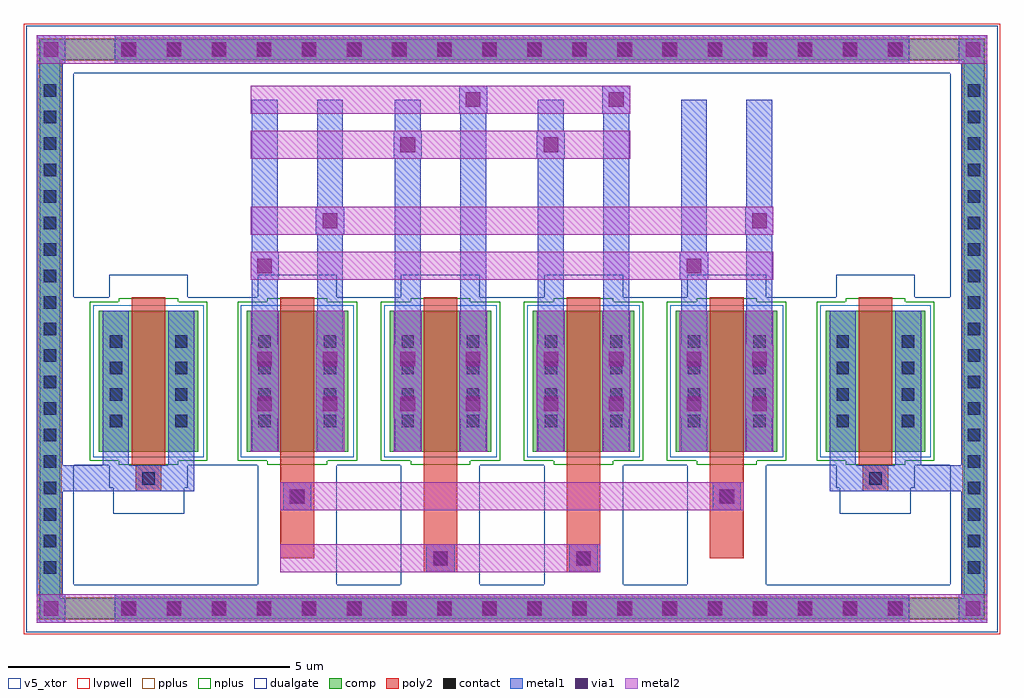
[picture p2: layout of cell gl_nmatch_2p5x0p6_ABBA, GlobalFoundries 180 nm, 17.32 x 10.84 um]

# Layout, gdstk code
import gdstk
lib = gdstk.Library(unit=1e-6, precision=1e-09)
def R(c, l, rs):  # rectangles x0, y0, x1, y1
    for r in rs: c.add(gdstk.rectangle(r[:2], r[2:], *l))
def A(c, l, x, y, w, h, nx, ny, dx, dy):  # array of equal rectangles
    R(c, l, [(x+i*dx, y+j*dy, x+i*dx+w, y+j*dy+h) for i in range(nx) for j in range(ny)])
comp = (22, 0)
poly2 = (30, 0)
pplus = (31, 0)
nplus = (32, 0)
contact = (33, 0)
metal1 = (34, 0)
via1 = (35, 0)
metal2 = (36, 0)
dualgate = (55, 0)
v5_xtor = (112, 1)
lvpwell = (204, 0)

gl_nmatch_2p5x0p6_abba = lib.new_cell('gl_nmatch_2p5x0p6_ABBA')
A(gl_nmatch_2p5x0p6_abba, comp, -4.71, -2.18, 1.8, 2.5, 4, 1, 2.54, 0)
R(gl_nmatch_2p5x0p6_abba, comp, [(-8.38,-5.14,8.38,-4.78), (-8.38,-4.78,-8.02,4.78), (8.02,-4.78,8.38,4.78), (-7.33,-2.18,-5.57,0.32), (5.57,-2.18,7.33,0.32), (-8.38,4.78,8.38,5.14)])
R(gl_nmatch_2p5x0p6_abba, poly2, [(-1.57,-4.32,-0.97,0.56), (0.97,-4.32,1.57,0.56), (-4.11,-4.07,-3.51,0.56), (3.51,-4.07,4.11,0.56), (-6.68,-2.88,-6.22,-2.42), (6.22,-2.88,6.68,-2.42), (-6.75,-2.42,-6.15,0.56), (6.15,-2.42,6.75,0.56)])
R(gl_nmatch_2p5x0p6_abba, pplus, [(-7.01,-5.17,7.01,-5.16), (-8.4,-5.16,8.4,-4.76), (-8.4,-4.76,-7.99,-4.46), (-7.01,-4.76,7.01,-4.75), (7.99,-4.76,8.4,-4.46), (-8.41,-4.46,-7.99,4.46), (7.99,-4.46,8.41,4.46), (-8.4,4.46,-7.99,4.76), (7.99,4.46,8.4,4.76), (-7.01,4.75,7.01,4.76), (-8.4,4.76,8.4,5.16), (-7.01,5.16,7.01,5.17)])
A(gl_nmatch_2p5x0p6_abba, nplus, -4.34, -2.41, 1.06, 0.07, 4, 2, 2.54, 2.89)
A(gl_nmatch_2p5x0p6_abba, nplus, -4.87, -2.34, 2.12, 2.82, 4, 1, 2.54, 0)
R(gl_nmatch_2p5x0p6_abba, nplus, [(-6.98,-2.41,-5.92,-2.34), (5.92,-2.41,6.98,-2.34), (-7.49,-2.34,-5.41,0.48), (5.41,-2.34,7.49,0.48), (-6.98,0.48,-5.92,0.55), (5.92,0.48,6.98,0.55)])
A(gl_nmatch_2p5x0p6_abba, contact, -6.91, -5.07, 0.22, 0.22, 18, 2, 0.8, 9.92)
A(gl_nmatch_2p5x0p6_abba, contact, -8.31, -4.34, 0.22, 0.22, 1, 19, 0, 0.47)
A(gl_nmatch_2p5x0p6_abba, contact, 8.09, -4.34, 0.22, 0.22, 1, 19, 0, 0.47)
A(gl_nmatch_2p5x0p6_abba, contact, -7.14, -1.745, 0.22, 0.22, 1, 4, 0, 0.47)
A(gl_nmatch_2p5x0p6_abba, contact, -5.98, -1.745, 0.22, 0.22, 1, 4, 0, 0.47)
A(gl_nmatch_2p5x0p6_abba, contact, -4.5, -1.745, 0.22, 0.22, 1, 4, 0, 0.47)
A(gl_nmatch_2p5x0p6_abba, contact, -3.34, -1.745, 0.22, 0.22, 1, 4, 0, 0.47)
A(gl_nmatch_2p5x0p6_abba, contact, -1.96, -1.745, 0.22, 0.22, 1, 4, 0, 0.47)
A(gl_nmatch_2p5x0p6_abba, contact, -0.8, -1.745, 0.22, 0.22, 1, 4, 0, 0.47)
A(gl_nmatch_2p5x0p6_abba, contact, 0.58, -1.745, 0.22, 0.22, 1, 4, 0, 0.47)
A(gl_nmatch_2p5x0p6_abba, contact, 1.74, -1.745, 0.22, 0.22, 1, 4, 0, 0.47)
A(gl_nmatch_2p5x0p6_abba, contact, 3.12, -1.745, 0.22, 0.22, 1, 4, 0, 0.47)
A(gl_nmatch_2p5x0p6_abba, contact, 4.28, -1.745, 0.22, 0.22, 1, 4, 0, 0.47)
A(gl_nmatch_2p5x0p6_abba, contact, 5.76, -1.745, 0.22, 0.22, 1, 4, 0, 0.47)
A(gl_nmatch_2p5x0p6_abba, contact, 6.92, -1.745, 0.22, 0.22, 1, 4, 0, 0.47)
R(gl_nmatch_2p5x0p6_abba, contact, [(-1.38,-4.18,-1.16,-3.96), (1.16,-4.18,1.38,-3.96), (-3.92,-3.08,-3.7,-2.86), (3.7,-3.08,3.92,-2.86), (-6.56,-2.76,-6.34,-2.54), (6.34,-2.76,6.56,-2.54)])
R(gl_nmatch_2p5x0p6_abba, metal1, [(-8.43,-5.21,-7.93,-4.71), (-7.05,-5.21,7.05,-4.71), (7.93,-5.21,8.43,-4.71), (-8.43,-4.71,-7.97,-2.88), (7.97,-4.71,8.43,-2.88), (-1.52,-4.32,-1.02,-3.82), (1.02,-4.32,1.52,-3.82), (-4.06,-3.22,-3.56,-2.72), (3.56,-3.22,4.06,-2.72), (-8.43,-2.88,-5.64,-2.42), (5.64,-2.88,8.43,-2.42), (-8.43,-2.42,-7.97,4.71), (-7.26,-2.42,-6.8,0.32), (-6.1,-2.42,-5.64,0.32), (5.64,-2.42,6.1,0.32), (6.8,-2.42,7.26,0.32), (7.97,-2.42,8.43,4.71), (-4.62,-2.18,-4.16,-1.58), (-3.46,-2.18,-3,-1.58), (-2.08,-2.18,-1.62,-1.58), (-0.92,-2.18,-0.46,-1.58), (0.46,-2.18,0.92,-1.58), (1.62,-2.18,2.08,-1.58), (3,-2.18,3.46,-1.58), (4.16,-2.18,4.62,-1.58), (-4.64,-1.58,-4.14,-0.28), (-3.48,-1.58,-2.98,-0.28), (-2.1,-1.58,-1.6,-0.28), (-0.94,-1.58,-0.44,-0.28), (0.44,-1.58,0.94,-0.28), (1.6,-1.58,2.1,-0.28), (2.98,-1.58,3.48,-0.28), (4.14,-1.58,4.64,-0.28), (-4.62,-0.28,-4.16,0.87), (-3.46,-0.28,-3,1.67), (-2.08,-0.28,-1.62,3.02), (-0.92,-0.28,-0.46,3.82), (0.46,-0.28,0.92,3.02), (1.62,-0.28,2.08,3.82), (3,-0.28,3.46,0.87), (4.16,-0.28,4.62,1.67), (-4.64,0.87,-4.14,1.37), (2.98,0.87,3.48,1.37), (-4.62,1.37,-4.16,4.07), (3,1.37,3.46,4.07), (-3.48,1.67,-2.98,2.17), (4.14,1.67,4.64,2.17), (-3.46,2.17,-3,4.07), (4.16,2.17,4.62,4.07), (-2.1,3.02,-1.6,3.52), (0.44,3.02,0.94,3.52), (-2.08,3.52,-1.62,4.07), (0.46,3.52,0.92,4.07), (-0.94,3.82,-0.44,4.32), (1.6,3.82,2.1,4.32), (-8.43,4.71,-7.93,5.21), (-7.05,4.71,7.05,5.21), (7.93,4.71,8.43,5.21)])
A(gl_nmatch_2p5x0p6_abba, via1, -6.93, -5.09, 0.26, 0.26, 18, 2, 0.8, 9.92)
R(gl_nmatch_2p5x0p6_abba, via1, [(-8.31,-5.09,-8.05,-4.83), (8.05,-5.09,8.31,-4.83), (-1.4,-4.2,-1.14,-3.94), (1.14,-4.2,1.4,-3.94), (-3.94,-3.1,-3.68,-2.84), (3.68,-3.1,3.94,-2.84), (-4.52,-1.46,-4.26,-1.2), (-3.36,-1.46,-3.1,-1.2), (-1.98,-1.46,-1.72,-1.2), (-0.82,-1.46,-0.56,-1.2), (0.56,-1.46,0.82,-1.2), (1.72,-1.46,1.98,-1.2), (3.1,-1.46,3.36,-1.2), (4.26,-1.46,4.52,-1.2), (-4.52,-0.66,-4.26,-0.4), (-3.36,-0.66,-3.1,-0.4), (-1.98,-0.66,-1.72,-0.4), (-0.82,-0.66,-0.56,-0.4), (0.56,-0.66,0.82,-0.4), (1.72,-0.66,1.98,-0.4), (3.1,-0.66,3.36,-0.4), (4.26,-0.66,4.52,-0.4), (-4.52,0.99,-4.26,1.25), (3.1,0.99,3.36,1.25), (-3.36,1.79,-3.1,2.05), (4.26,1.79,4.52,2.05), (-1.98,3.14,-1.72,3.4), (0.56,3.14,0.82,3.4), (-0.82,3.94,-0.56,4.2), (1.72,3.94,1.98,4.2), (-8.31,4.83,-8.05,5.09), (8.05,4.83,8.31,5.09)])
R(gl_nmatch_2p5x0p6_abba, metal2, [(-8.43,-5.21,8.43,-4.71), (-4.11,-4.32,1.57,-3.82), (-4.11,-3.22,4.11,-2.72), (-4.64,-2.18,-4.14,0.32), (-3.48,-2.18,-2.98,0.32), (-2.1,-2.18,-1.6,0.32), (-0.94,-2.18,-0.44,0.32), (0.44,-2.18,0.94,0.32), (1.6,-2.18,2.1,0.32), (2.98,-2.18,3.48,0.32), (4.14,-2.18,4.64,0.32), (-4.64,0.87,4.64,1.37), (-4.64,1.67,4.64,2.17), (-4.64,3.02,2.1,3.52), (-4.64,3.82,2.1,4.32), (-8.43,4.71,8.43,5.21)])
A(gl_nmatch_2p5x0p6_abba, dualgate, -4.51, -4.54, 1.4, 2.12, 4, 1, 2.54, 0)
A(gl_nmatch_2p5x0p6_abba, dualgate, -4.51, 0.56, 1.4, 0.4, 4, 1, 2.54, 0)
R(gl_nmatch_2p5x0p6_abba, dualgate, [(-8.62,-5.38,8.62,-4.54), (-8.62,-4.54,-7.78,-2.42), (7.78,-4.54,8.62,-2.42), (-7.08,-3.28,-5.82,-2.82), (5.82,-3.28,7.08,-2.82), (-7.15,-2.82,-5.75,-2.42), (5.75,-2.82,7.15,-2.42), (-8.62,-2.42,8.62,0.56), (-8.62,0.56,-7.78,4.54), (-7.15,0.56,-5.75,0.96), (5.75,0.56,7.15,0.96), (7.78,0.56,8.62,4.54), (-8.62,4.54,8.62,5.38)])
A(gl_nmatch_2p5x0p6_abba, v5_xtor, -4.81, -2.28, 2, 2.7, 4, 1, 2.54, 0)
R(gl_nmatch_2p5x0p6_abba, v5_xtor, [(-7.43,-2.28,-5.47,0.42), (5.47,-2.28,7.43,0.42)])
R(gl_nmatch_2p5x0p6_abba, lvpwell, [(-8.66,-5.42,8.66,5.42)])

lib.write_gds('gl_nmatch_2p5x0p6_ABBA.gds')
